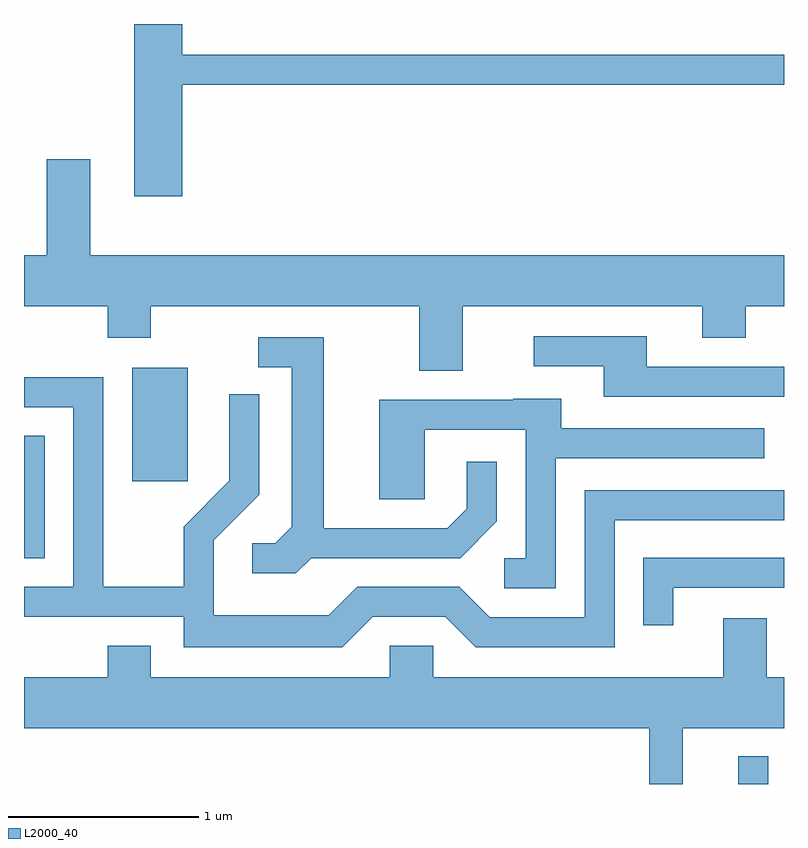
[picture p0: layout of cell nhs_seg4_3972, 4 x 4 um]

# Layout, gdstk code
import gdstk
lib = gdstk.Library(unit=1e-6, precision=1e-09)
def R(c, l, rs):  # rectangles x0, y0, x1, y1
    for r in rs: c.add(gdstk.rectangle(r[:2], r[2:], *l))
def P(c, l, *ps):  # polygons
    for p in ps: c.add(gdstk.Polygon(p, *l))
L2000_40 = (2000, 40)

nhs_seg4_3972 = lib.new_cell('nhs_seg4_3972')
R(nhs_seg4_3972, L2000_40, [(305.371,1309.982,305.529,1310.128), (301.611,1311.171,301.719,1311.814), (302.181,1311.576,302.474,1312.174)])
P(nhs_seg4_3972, L2000_40, [(302.444,1313.661),(305.611,1313.661),(305.611,1313.819),(302.444,1313.819),(302.444,1313.982),(302.191,1313.982),(302.191,1313.076),(302.444,1313.076)],
  [(303.919,1312.496),(305.181,1312.496),(305.181,1312.331),(305.409,1312.331),(305.409,1312.496),(305.611,1312.496),(305.611,1312.764),(301.959,1312.764),(301.959,1313.269),(301.731,1313.269),(301.731,1312.764),(301.611,1312.764),(301.611,1312.496),(302.051,1312.496),(302.051,1312.331),(302.279,1312.331),(302.279,1312.496),(303.691,1312.496),(303.691,1312.156),(303.919,1312.156)],
  [(305.611,1312.179),(304.889,1312.179),(304.889,1312.339),(304.293,1312.339),(304.293,1312.181),(304.661,1312.181),(304.661,1312.021),(305.611,1312.021)],
  [(303.122,1311.171),(303.907,1311.171),(304.099,1311.364),(304.099,1311.678),(303.941,1311.678),(303.941,1311.432),(303.839,1311.329),(303.189,1311.329),(303.189,1312.334),(302.843,1312.334),(302.843,1312.176),(303.021,1312.176),(303.021,1311.337),(302.934,1311.249),(302.813,1311.249),(302.813,1311.091),(303.042,1311.091)],
  [(303.447,1310.861),(303.829,1310.861),(303.989,1310.701),(304.719,1310.701),(304.719,1311.371),(305.611,1311.371),(305.611,1311.529),(304.561,1311.529),(304.561,1310.859),(304.062,1310.859),(303.902,1311.019),(303.364,1311.019),(303.214,1310.869),(302.609,1310.869),(302.609,1311.264),(302.849,1311.504),(302.849,1312.033),(302.691,1312.033),(302.691,1311.577),(302.451,1311.337),(302.451,1311.019),(302.029,1311.019),(302.029,1312.124),(301.611,1312.124),(301.611,1311.966),(301.871,1311.966),(301.871,1311.019),(301.611,1311.019),(301.611,1310.861),(302.451,1310.861),(302.451,1310.701),(303.287,1310.701)],
  [(304.409,1311.696),(305.508,1311.696),(305.508,1311.854),(304.439,1311.854),(304.439,1312.009),(304.185,1312.009),(304.185,1312.004),(303.481,1312.004),(303.481,1311.481),(303.719,1311.481),(303.719,1311.846),(304.251,1311.846),(304.251,1311.169),(304.138,1311.169),(304.138,1311.011),(304.409,1311.011)],
  [(305.029,1311.016),(305.611,1311.016),(305.611,1311.174),(304.871,1311.174),(304.871,1310.818),(305.029,1310.818)],
  [(305.079,1310.276),(305.611,1310.276),(305.611,1310.544),(305.519,1310.544),(305.519,1310.854),(305.291,1310.854),(305.291,1310.544),(303.764,1310.544),(303.764,1310.709),(303.536,1310.709),(303.536,1310.544),(302.279,1310.544),(302.279,1310.709),(302.051,1310.709),(302.051,1310.544),(301.611,1310.544),(301.611,1310.276),(304.901,1310.276),(304.901,1309.982),(305.079,1309.982)])

lib.write_gds('nhs_seg4_3972.gds')
